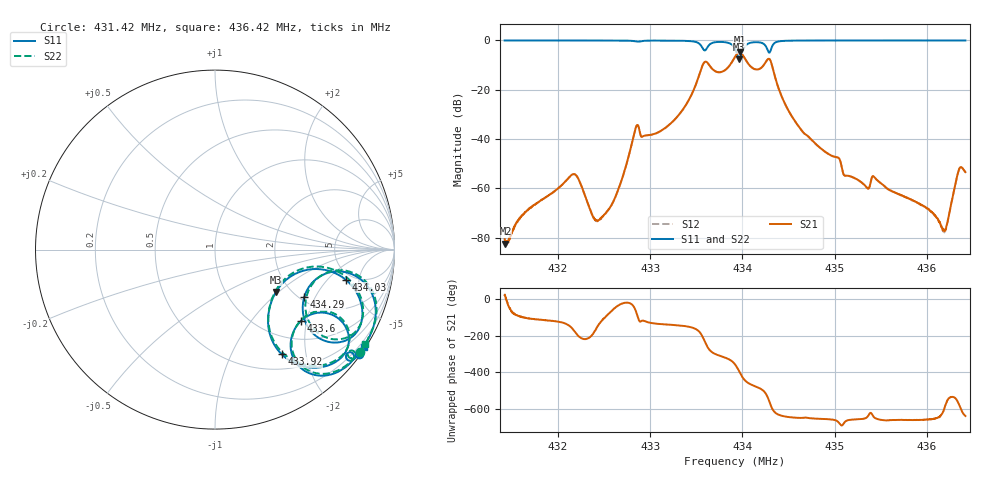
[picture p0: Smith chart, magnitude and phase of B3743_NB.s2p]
! S-parameter for B3743 in Touchstone format with magnitude (lin) and phase
! Normalised impedance: 50 Ohm. Measurement system: 50 Ohm Ta = 25°C
! B3743_NB.s2p not matched. Measurement full 2-port calibrated incl. Port ext.
! Start: 431.42MHz, Stop: 436.42MHz, Span: 5MHz, 1601 Pts., Step: 3.1kHz
! Date:22/02/08 Epcos SAW COM WT AE PD, AB
! Pinning according data sheet recommendation, In P1, Out P4, all others GND
# MHZ S MA R 50
! freq  magS11 angS11  magS21 angS21  magS12 angS12  magS22 angS22
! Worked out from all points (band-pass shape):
!   1601 points, 431.42 MHz to 436.42 MHz, reference 50 ohm
!   highest |S21| = -4.88 dB at 433.97 MHz (marker M1); lowest = -82.4 dB at 431.43 MHz (marker M2)
!   |S21| within 3 dB of the highest: 433.902 MHz to 434.0344 MHz (132.4 kHz wide, 0.0305 % of centre); 434.2706 MHz to 434.3001 MHz (29.49 kHz wide, 0.00679 % of centre)
!   lowest |S11| = -7.7 dB at 433.97 MHz (marker M3), VSWR 2.41, Z = 84.4 - j47.9 ohm
!   |S11| at or under -10 dB: nowhere
!   |S22| runs from -7.8 to -0.1 dB; largest |S21 - S12| = 0.0022
!   S11 on the Smith chart (normalised r, x): 431.42 MHz: 0.05, -3.07; 433.6 MHz: 1.44, -1.86; 433.92 MHz: 0.71, -1.58; 434.03 MHz: 4.34, -3.27; 434.29 MHz: 2.11, -1.64; 436.42 MHz: 0.06, -3.36
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431.42  0.9899 -36.1  9.347e-05 23.2  8.718e-05 26.4  0.9871 -35.2
431.4294  0.9898 -36.1  7.567e-05 13.7  8.416e-05 11.2  0.9869 -35.2
432.145  0.9883 -37.0  0.001854 -154.7  0.00184 -154.5  0.9849 -36.1
432.2544  0.9876 -37.1  0.001101 146.4  0.001095 146.5  0.9846 -36.2
432.4481  0.9877 -37.6  0.000232 -132.4  0.000228 -132.5  0.985 -36.6
432.6294  0.9862 -38.3  0.00072 -42.5  0.0007152 -42.2  0.9836 -37.3
432.8481  0.9457 -39.5  0.01795 -70.2  0.01785 -70.1  0.947 -38.5
433.0888  0.9844 -39.2  0.01368 -134.7  0.01361 -134.6  0.9815 -38.3
433.595  0.6223 -39.5  0.3661 126.1  0.3645 126.2  0.62 -38.7
433.7138  0.9176 -36.2  0.2321 58.6  0.2309 58.8  0.9138 -35.4
433.9169  0.6903 -57.5  0.4518 5.9  0.45 6.0  0.6849 -56.8
433.92  0.6722 -57.8  0.4622 3.9  0.4605 4.0  0.6666 -57.1
433.9669  0.4133 -34.7  0.5691 -34.9  0.5673 -34.9  0.4079 -33.2
433.9731  0.4189 -27.0  0.5705 -40.9  0.5686 -40.9  0.4147 -25.5
434.0263  0.7465 -12.9  0.4283 -82.8  0.4263 -82.8  0.7449 -11.7
434.2887  0.5633 -28.1  0.4213 166.1  0.4193 166.2  0.5717 -26.6
434.4856  0.977 -24.5  0.04228 76.7  0.042 76.9  0.9759 -23.7
434.7544  0.9876 -29.0  0.00943 68.0  0.00936 68.1  0.9855 -28.2
435.5888  0.9899 -32.2  0.0009416 57.9  0.0009352 58.1  0.9874 -31.3
436.1888  0.9902 -33.1  0.0001374 118.9  0.0001377 121.9  0.9874 -32.2
436.345  0.9882 -33.2  0.002256 151.5  0.002234 151.3  0.9855 -32.3
436.42  0.9895 -33.2  0.002131 81.5  0.002118 81.7  0.9867 -32.3
